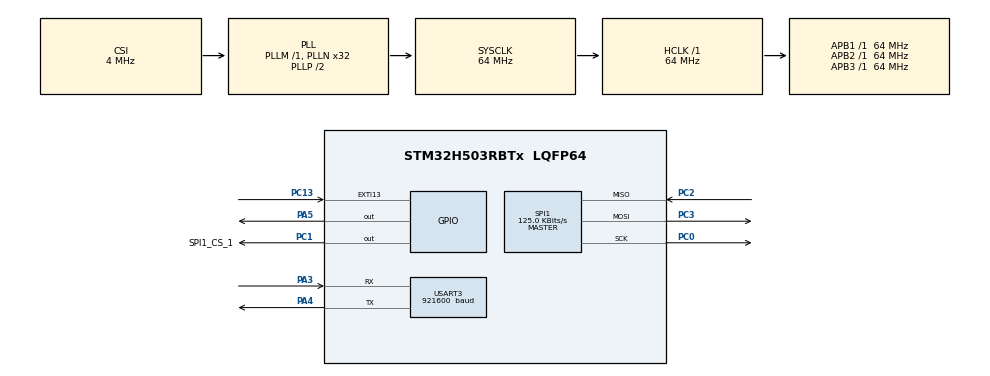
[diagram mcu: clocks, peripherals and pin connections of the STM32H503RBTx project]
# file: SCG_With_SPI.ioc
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BOOTPATH.BootPathName=LEGACY
BOOTPATH.UserSelectedBootPath=LEGACY
Mcu.Family=STM32H5
Mcu.Name=STM32H503RBTx
Mcu.Package=LQFP64
NUCLEO-H503RB.BUTTON=1
NUCLEO-H503RB.LD2=true
NUCLEO-H503RB.VCP=false
NVIC.EXTI13_IRQn=true\:0\:0\:false\:false\:true\:false\:true\:true
NVIC.PriorityGroup=NVIC_PRIORITYGROUP_4
NVIC.SPI1_IRQn=true\:0\:0\:false\:false\:true\:true\:true\:true
PA3.Mode=Asynchronous
PA3.Signal=USART3_RX
PA4.Mode=Asynchronous
PA4.Signal=USART3_TX
PA5.Signal=GPIO_Output
PB2.Mode=Clock-out-LSCO
PB2.Signal=RCC_LSCO
PC0.Mode=Full_Duplex_Master
PC0.Signal=SPI1_SCK
PC1.GPIO_Label=SPI1_CS_1
PC1.GPIO_Speed=GPIO_SPEED_FREQ_VERY_HIGH
PC1.PinState=GPIO_PIN_RESET
PC1.Signal=GPIO_Output
PC13.Signal=GPXTI13
PC2.Mode=Full_Duplex_Master
PC2.Signal=SPI1_MISO
PC3.Mode=Full_Duplex_Master
PC3.Signal=SPI1_MOSI
ProjectManager.HeapSize=0x200
ProjectManager.StackSize=0x400
ProjectManager.TargetToolchain=STM32CubeIDE
RCC.ADCFreq_Value=64000000
RCC.AHBFreq_Value=64000000
RCC.APB1Freq_Value=64000000
RCC.APB1TimFreq_Value=64000000
RCC.APB2Freq_Value=64000000
RCC.APB2TimFreq_Value=64000000
RCC.APB3Freq_Value=64000000
RCC.CSI_VALUE=4000000
RCC.CortexFreq_Value=64000000
RCC.EPOD_VALUE=4000000
RCC.HCLKFreq_Value=64000000
RCC.HSE_VALUE=24000000
RCC.HSI48_VALUE=48000000
RCC.HSI_VALUE=64000000
RCC.LSE_VALUE=32768
RCC.LSIRC_VALUE=32000
RCC.PLL1Q=4
RCC.PLL2FRACN=0
RCC.PLLFRACN=0
RCC.PLLN=32
RCC.SYSCLKFreq_VALUE=64000000
RCC.SYSCLKSource=RCC_SYSCLKSOURCE_PLLCLK
RCC.USBFreq_Value=48000000
RCC.VCOOutputFreq_Value=128000000
SPI1.BaudRatePrescaler=SPI_BAUDRATEPRESCALER_256
SPI1.CLKPhase=SPI_PHASE_2EDGE
SPI1.CLKPolarity=SPI_POLARITY_HIGH
SPI1.CalculateBaudRate=125.0 KBits/s
SPI1.DataSize=SPI_DATASIZE_8BIT
SPI1.Direction=SPI_DIRECTION_2LINES
SPI1.MasterInterDataIdleness=SPI_MASTER_INTERDATA_IDLENESS_00CYCLE
SPI1.MasterSSIdleness=SPI_MASTER_SS_IDLENESS_15CYCLE
SPI1.Mode=SPI_MODE_MASTER
SPI1.VirtualType=VM_MASTER
USART3.BaudRate=921600 
USART3.VirtualMode-Asynchronous=VM_ASYNC
VP_BOOTPATH_VS_BOOTPATH.Mode=BP_Activate
VP_CORTEX_M33_NS_VS_Hclk.Mode=Hclk_Mode
VP_ICACHE_VS_ICACHE.Mode=DefaultMode
VP_MEMORYMAP_VS_MEMORYMAP.Mode=CurAppReg
VP_NUCLEO-H503RB_VS_BSP_COMMON.Mode=COMMON
VP_PWR_VS_DBSignals.Mode=DisableDeadBatterySignals
VP_PWR_VS_LPOM.Mode=PowerOptimisation
VP_PWR_VS_SECSignals.Mode=Security/Privilege
board=NUCLEO-H503RB

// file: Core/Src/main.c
/* USER CODE BEGIN Header */
/**
  ******************************************************************************
  * @file           : main.c
  * @brief          : Main program body
  ******************************************************************************
  * @attention
  *
  * Copyright (c) 2025 STMicroelectronics.
  * All rights reserved.
  *
  * This software is licensed under terms that can be found in the LICENSE file
  * in the root directory of this software component.
  * If no LICENSE file comes with this software, it is provided AS-IS.
  *
  ******************************************************************************
  */
/* USER CODE END Header */
#include "main.h"

/* USER CODE BEGIN Includes */
#include "icm_42688_p_spi.h"
#include "sensor_array.h"
/* USER CODE END Includes */

SPI_HandleTypeDef hspi1;

UART_HandleTypeDef huart3;

/* USER CODE BEGIN PV */
uint8_t dataBuffer[FIFO_PACKET_SIZE_MODIFIED * DATA_BUFFER_MAX_PACKAGES];

/* USER CODE END PV */

void SystemClock_Config(void);
static void MX_GPIO_Init(void);
static void MX_SPI1_Init(void);
static void MX_ICACHE_Init(void);
static void MX_USART3_UART_Init(void);

int main(void)
{

  /* MCU Configuration--------------------------------------------------------*/

  /* Reset of all peripherals, Initializes the Flash interface and the Systick. */
  HAL_Init();

  /* Configure the system clock */
  SystemClock_Config();

  /* Initialize all configured peripherals */
  MX_GPIO_Init();
  MX_SPI1_Init();
  MX_ICACHE_Init();
  MX_USART3_UART_Init();
  /* USER CODE BEGIN 2 */
  //SetCSStartup();
  HAL_GPIO_WritePin(GPIOC, GPIO_PIN_1, GPIO_PIN_SET);
  /* USER CODE END 2 */

  /* Initialize led */
  BSP_LED_Init(LED_GREEN);

  /* Initialize USER push-button, will be used to trigger an interrupt each time it's pressed.*/
  BSP_PB_Init(BUTTON_USER, BUTTON_MODE_EXTI);

  /* Infinite loop */
  /* USER CODE BEGIN WHILE */
  uint8_t text[8] = "Value:\n\r";
  uint8_t newline[2] = "\n\r";
  const uint8_t spi_tx_test[2] = {0x75 | 0x80 , 0x00};
  uint8_t spi_rx_test[2] = {0x00, 0x00};
//  const uint8_t spi_tx_test = 0x75 | 0x80;
//  uint8_t spi_rx_test;
  uint8_t who_am_i = 0;

  while (1)
  {
	  uint8_t tx_data = 0x75 | 0x80;

//	  SetupSensors(&hspi1);
	  HAL_GPIO_WritePin(GPIOC, GPIO_PIN_1, GPIO_PIN_RESET); /* Pin selection can be done in main.c */
//	  HAL_SPI_TransmitReceive(&hspi1, spi_tx_test, spi_rx_test, 2, 1000);
	  HAL_SPI_Transmit(&hspi1, &tx_data, 1, 1000);
	  HAL_SPI_Receive(&hspi1, &who_am_i, 1, 1000);
	  HAL_GPIO_WritePin(GPIOC, GPIO_PIN_1, GPIO_PIN_SET);
//	  HAL_SPI_Transmit(&hspi1, &spi_tx_test, 1, 5000);
//	  HAL_GPIO_WritePin(SPI1_CS_1_GPIO_Port, SPI1_CS_1_Pin, GPIO_PIN_RESET);
//	  HAL_SPI_Transmit(&hspi1, &spi_tx_test, 1, 5000);
//	  HAL_Delay(1);
//	  HAL_SPI_Receive(&hspi1, &spi_rx_test, 1, 5000);
//	  HAL_GPIO_WritePin(SPI1_CS_1_GPIO_Port, SPI1_CS_1_Pin, GPIO_PIN_SET);
	  BSP_LED_Toggle(LED_GREEN);
	  HAL_UART_Transmit(&huart3, text, 8, 1000);
	  HAL_UART_Transmit(&huart3, &who_am_i, 1, 1000);
	  HAL_UART_Transmit(&huart3, newline, 2, 1000);
	  HAL_Delay(1000);
    /* USER CODE END WHILE */

  }
}

void SystemClock_Config(void)
{
  RCC_OscInitTypeDef RCC_OscInitStruct = {0};
  RCC_ClkInitTypeDef RCC_ClkInitStruct = {0};

  /** Configure the main internal regulator output voltage
  */
  __HAL_PWR_VOLTAGESCALING_CONFIG(PWR_REGULATOR_VOLTAGE_SCALE3);

  while(!__HAL_PWR_GET_FLAG(PWR_FLAG_VOSRDY)) {}

  /** Initializes the RCC Oscillators according to the specified parameters
  * in the RCC_OscInitTypeDef structure.
  */
  RCC_OscInitStruct.OscillatorType = RCC_OSCILLATORTYPE_LSI|RCC_OSCILLATORTYPE_CSI;
  RCC_OscInitStruct.LSIState = RCC_LSI_ON;
  RCC_OscInitStruct.CSIState = RCC_CSI_ON;
  RCC_OscInitStruct.CSICalibrationValue = RCC_CSICALIBRATION_DEFAULT;
  RCC_OscInitStruct.PLL.PLLState = RCC_PLL_ON;
  RCC_OscInitStruct.PLL.PLLSource = RCC_PLL1_SOURCE_CSI;
  RCC_OscInitStruct.PLL.PLLM = 1;
  RCC_OscInitStruct.PLL.PLLN = 32;
  RCC_OscInitStruct.PLL.PLLP = 2;
  RCC_OscInitStruct.PLL.PLLQ = 4;
  RCC_OscInitStruct.PLL.PLLR = 2;
  RCC_OscInitStruct.PLL.PLLRGE = RCC_PLL1_VCIRANGE_2;
  RCC_OscInitStruct.PLL.PLLVCOSEL = RCC_PLL1_VCORANGE_WIDE;
  RCC_OscInitStruct.PLL.PLLFRACN = 0;
  if (HAL_RCC_OscConfig(&RCC_OscInitStruct) != HAL_OK)
  {
    Error_Handler();
  }

  /** Initializes the CPU, AHB and APB buses clocks
  */
  RCC_ClkInitStruct.ClockType = RCC_CLOCKTYPE_HCLK|RCC_CLOCKTYPE_SYSCLK
                              |RCC_CLOCKTYPE_PCLK1|RCC_CLOCKTYPE_PCLK2
                              |RCC_CLOCKTYPE_PCLK3;
  RCC_ClkInitStruct.SYSCLKSource = RCC_SYSCLKSOURCE_PLLCLK;
  RCC_ClkInitStruct.AHBCLKDivider = RCC_SYSCLK_DIV1;
  RCC_ClkInitStruct.APB1CLKDivider = RCC_HCLK_DIV1;
  RCC_ClkInitStruct.APB2CLKDivider = RCC_HCLK_DIV1;
  RCC_ClkInitStruct.APB3CLKDivider = RCC_HCLK_DIV1;

  if (HAL_RCC_ClockConfig(&RCC_ClkInitStruct, FLASH_LATENCY_3) != HAL_OK)
  {
    Error_Handler();
  }

  /** LSCO configuration
  */
  HAL_RCCEx_EnableLSCO(RCC_LSCOSOURCE_LSI);

  /** Configure the programming delay
  */
  __HAL_FLASH_SET_PROGRAM_DELAY(FLASH_PROGRAMMING_DELAY_1);
}

static void MX_ICACHE_Init(void)
{

  /** Enable instruction cache (default 2-ways set associative cache)
  */
  if (HAL_ICACHE_Enable() != HAL_OK)
  {
    Error_Handler();
  }

}

static void MX_SPI1_Init(void)
{

  /* SPI1 parameter configuration*/
  hspi1.Instance = SPI1;
  hspi1.Init.Mode = SPI_MODE_MASTER;
  hspi1.Init.Direction = SPI_DIRECTION_2LINES;
  hspi1.Init.DataSize = SPI_DATASIZE_8BIT;
  hspi1.Init.CLKPolarity = SPI_POLARITY_HIGH;
  hspi1.Init.CLKPhase = SPI_PHASE_2EDGE;
  hspi1.Init.NSS = SPI_NSS_SOFT;
  hspi1.Init.BaudRatePrescaler = SPI_BAUDRATEPRESCALER_256;
  hspi1.Init.FirstBit = SPI_FIRSTBIT_MSB;
  hspi1.Init.TIMode = SPI_TIMODE_DISABLE;
  hspi1.Init.CRCCalculation = SPI_CRCCALCULATION_DISABLE;
  hspi1.Init.CRCPolynomial = 0x7;
  hspi1.Init.NSSPMode = SPI_NSS_PULSE_DISABLE;
  hspi1.Init.NSSPolarity = SPI_NSS_POLARITY_LOW;
  hspi1.Init.FifoThreshold = SPI_FIFO_THRESHOLD_01DATA;
  hspi1.Init.MasterSSIdleness = SPI_MASTER_SS_IDLENESS_15CYCLE;
  hspi1.Init.MasterInterDataIdleness = SPI_MASTER_INTERDATA_IDLENESS_00CYCLE;
  hspi1.Init.MasterReceiverAutoSusp = SPI_MASTER_RX_AUTOSUSP_DISABLE;
  hspi1.Init.MasterKeepIOState = SPI_MASTER_KEEP_IO_STATE_DISABLE;
  hspi1.Init.IOSwap = SPI_IO_SWAP_DISABLE;
  hspi1.Init.ReadyMasterManagement = SPI_RDY_MASTER_MANAGEMENT_INTERNALLY;
  hspi1.Init.ReadyPolarity = SPI_RDY_POLARITY_HIGH;
  if (HAL_SPI_Init(&hspi1) != HAL_OK)
  {
    Error_Handler();
  }

}

static void MX_USART3_UART_Init(void)
{

  huart3.Instance = USART3;
  huart3.Init.BaudRate = 921600 ;
  huart3.Init.WordLength = UART_WORDLENGTH_8B;
  huart3.Init.StopBits = UART_STOPBITS_1;
  huart3.Init.Parity = UART_PARITY_NONE;
  huart3.Init.Mode = UART_MODE_TX_RX;
  huart3.Init.HwFlowCtl = UART_HWCONTROL_NONE;
  huart3.Init.OverSampling = UART_OVERSAMPLING_16;
  huart3.Init.OneBitSampling = UART_ONE_BIT_SAMPLE_DISABLE;
  huart3.Init.ClockPrescaler = UART_PRESCALER_DIV1;
  huart3.AdvancedInit.AdvFeatureInit = UART_ADVFEATURE_NO_INIT;
  if (HAL_UART_Init(&huart3) != HAL_OK)
  {
    Error_Handler();
  }
  if (HAL_UARTEx_SetTxFifoThreshold(&huart3, UART_TXFIFO_THRESHOLD_1_8) != HAL_OK)
  {
    Error_Handler();
  }
  if (HAL_UARTEx_SetRxFifoThreshold(&huart3, UART_RXFIFO_THRESHOLD_1_8) != HAL_OK)
  {
    Error_Handler();
  }
  if (HAL_UARTEx_DisableFifoMode(&huart3) != HAL_OK)
  {
    Error_Handler();
  }

}

static void MX_GPIO_Init(void)
{
  GPIO_InitTypeDef GPIO_InitStruct = {0};

  /* GPIO Ports Clock Enable */
  __HAL_RCC_GPIOC_CLK_ENABLE();
  __HAL_RCC_GPIOA_CLK_ENABLE();
  __HAL_RCC_GPIOB_CLK_ENABLE();

  /*Configure GPIO pin Output Level */
  HAL_GPIO_WritePin(SPI1_CS_1_GPIO_Port, SPI1_CS_1_Pin, GPIO_PIN_RESET);

  /*Configure GPIO pin : SPI1_CS_1_Pin */
  GPIO_InitStruct.Pin = SPI1_CS_1_Pin;
  GPIO_InitStruct.Mode = GPIO_MODE_OUTPUT_PP;
  GPIO_InitStruct.Pull = GPIO_NOPULL;
  GPIO_InitStruct.Speed = GPIO_SPEED_FREQ_VERY_HIGH;
  HAL_GPIO_Init(SPI1_CS_1_GPIO_Port, &GPIO_InitStruct);

  /*Configure GPIO pin : PB2 */
  GPIO_InitStruct.Pin = GPIO_PIN_2;
  GPIO_InitStruct.Mode = GPIO_MODE_ANALOG;
  GPIO_InitStruct.Pull = GPIO_NOPULL;
  HAL_GPIO_Init(GPIOB, &GPIO_InitStruct);

}

void Error_Handler(void)
{
  __disable_irq();
  while (1)
  {
  }
}
